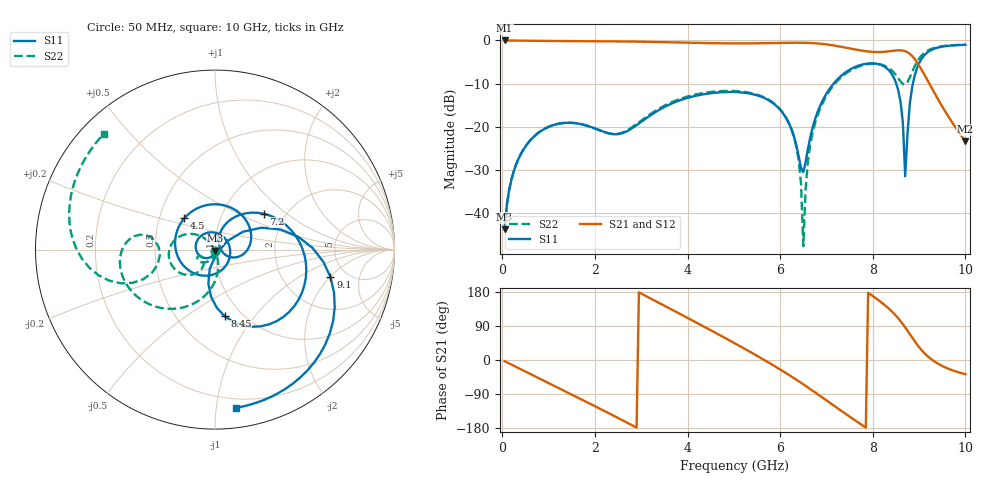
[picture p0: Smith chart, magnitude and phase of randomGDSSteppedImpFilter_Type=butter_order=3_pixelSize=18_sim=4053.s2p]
! freq	dB(S11)	phase(S11)	dB(S12)	phase(S12)
!  dB(S21)	phase(S21)	dB(S22)	phase(S22)
!S-par simulation data
#  GHz  S  DB  R 50
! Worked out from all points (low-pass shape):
!   200 points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, 50 MHz to 10 GHz, reference 50 ohm
!   highest |S21| = -0.01 dB at 50 MHz (marker M1); lowest = -23.4 dB at 10 GHz (marker M2)
!   |S21| within 3 dB of the highest: start of sweep to 8.786 GHz
!   lowest |S11| = -43.8 dB at 50 MHz (marker M3), VSWR 1.01, Z = 50 - j0.643 ohm
!   |S11| at or under -10 dB: start of sweep to 7.155 GHz; 8.506 GHz to 8.867 GHz (361.1 MHz wide, 4.16 % of centre)
!   |S22| runs from -47.7 to -1.0 dB; largest |S21 - S12| = 0
!   S11 on the Smith chart (normalised r, x): 50 MHz: 1.00, -0.01; 4.5 GHz: 0.67, +0.25; 7.2 GHz: 1.55, +0.70; 8.45 GHz: 0.83, -0.72; 9.1 GHz: 3.73, -2.04; 10 GHz: 0.14, -1.14
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0.05  -43.83 -90.2  -0.01 -3.1  -0.01 -3.1  -43.84 -88.0
0.2  -32.15 -104.4  -0.03 -12.3  -0.03 -12.3  -32.10 -98.1
0.55  -23.88 -132.6  -0.07 -33.6  -0.07 -33.6  -23.84 -114.9
1.75  -19.53 122.8  -0.18 -106.5  -0.18 -106.5  -19.54 -156.9
2.65  -21.27 -10.1  -0.24 -162.5  -0.24 -162.5  -21.09 -134.6
3.4  -16.02 -113.2  -0.39 149.7  -0.39 149.7  -15.72 -127.7
4.5  -12.24 134.1  -0.64 78.6  -0.64 78.6  -11.95 -157.1
5.05  -11.98 79.1  -0.68 42.0  -0.68 42.0  -11.75 -174.8
6.2  -19.47 -24.3  -0.54 -40.2  -0.54 -40.2  -19.41 136.5
6.4  -26.82 -19.7  -0.53 -56.0  -0.53 -56.0  -27.80 127.5
6.5  -30.53 28.8  -0.54 -64.1  -0.54 -64.1  -47.71 177.3
6.6  -25.11 68.4  -0.57 -72.4  -0.57 -72.4  -27.96 -73.4
6.7  -20.24 72.9  -0.62 -80.8  -0.62 -80.8  -21.44 -77.8
7.2  -9.44 36.3  -1.24 -123.9  -1.24 -123.9  -9.81 -111.6
7.8  -5.52 -17.3  -2.43 -174.4  -2.43 -174.4  -5.70 -153.2
8.35  -6.95 -70.0  -2.53 135.3  -2.53 135.3  -6.43 172.7
8.45  -8.53 -81.9  -2.39 123.5  -2.39 123.5  -7.39 168.8
8.6  -14.28 -101.1  -2.29 102.5  -2.29 102.5  -9.51 172.1
8.7  -31.53 -74.7  -2.49 86.0  -2.49 86.0  -10.19 -173.9
8.85  -10.86 25.2  -3.61 59.1  -3.61 59.1  -7.31 -157.6
9.1  -3.59 -13.4  -7.66 20.0  -7.66 20.0  -3.02 -171.7
10  -1.02 -82.3  -23.40 -37.3  -23.40 -37.3  -0.97 133.8
